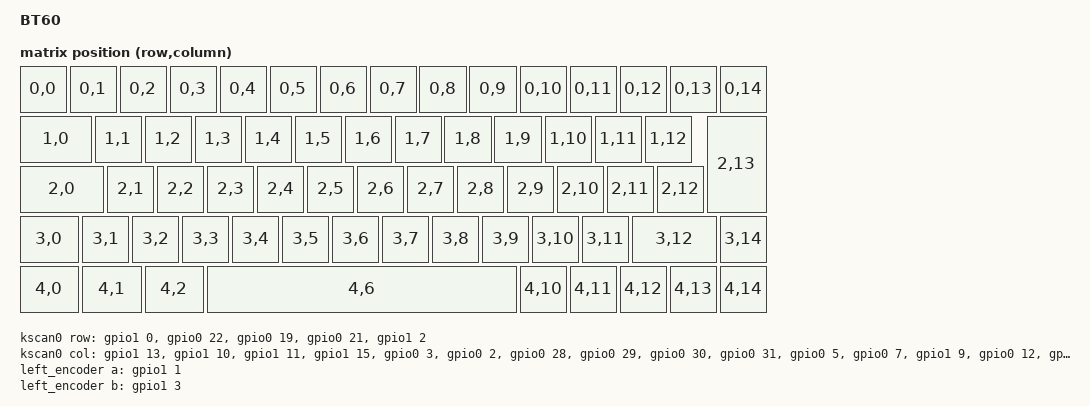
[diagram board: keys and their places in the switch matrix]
/*
 * Copyright (c) 2021 Polarity Works
 *
 * SPDX-License-Identifier: MIT
 */

/dts-v1/;
#include <nordic/nrf52840_qiaa.dtsi>
#include <zephyr/dt-bindings/regulator/nrf5x.h>
#include <dt-bindings/zmk/matrix_transform.h>
#include <physical_layouts.dtsi>

/ {
	model = "BT60";
	compatible = "polarityworks,bt60";

	chosen {
		zephyr,code-partition = &code_partition;
		zephyr,sram = &sram0;
		zephyr,flash = &flash0;
		zmk,battery = &vbatt;
		zmk,kscan = &kscan0;
		/* ZMK Studio: the matrix transform is referenced from the physical layout,
		 * so there must be no chosen zmk,matrix-transform. */
		zmk,physical-layout = &default_layout;

		/* Boot mode retention for the Adafruit nRF52 bootloader */
		zephyr,boot-mode = &boot_retention;
		zmk,magic-boot-mode = &adafruit_boot_retention;
	};

	/* Maps Zephyr boot modes to the magic values the bootloader expects */
	magic_mapper {
		compatible = "zmk,bootmode-to-magic-mapper";
		status = "okay";

		#address-cells = <1>;
		#size-cells = <1>;

		boot_retention: retention@0 {
			compatible = "zephyr,retention";
			status = "okay";
			reg = <0x0 0x1>;
		};
	};

	sensors: sensors {
		compatible = "zmk,keymap-sensors";
		sensors = <&left_encoder>;
		triggers-per-rotation = <20>;
	};

	default_transform: keymap_transform_0 {
		compatible = "zmk,matrix-transform";
		columns = <15>;
		rows = <5>;
		map = <
			RC(0,0) RC(0,1) RC(0,2) RC(0,3) RC(0,4) RC(0,5) RC(0,6) RC(0,7) RC(0,8) RC(0,9) RC(0,10) RC(0,11) RC(0,12) RC(0,13) RC(0,14)
			RC(1,0) RC(1,1) RC(1,2) RC(1,3) RC(1,4) RC(1,5) RC(1,6) RC(1,7) RC(1,8) RC(1,9) RC(1,10) RC(1,11) RC(1,12)
			RC(2,0) RC(2,1) RC(2,2) RC(2,3) RC(2,4) RC(2,5) RC(2,6) RC(2,7) RC(2,8) RC(2,9) RC(2,10) RC(2,11) RC(2,12) RC(2,13)
			RC(3,0) RC(3,1) RC(3,2) RC(3,3) RC(3,4) RC(3,5) RC(3,6) RC(3,7) RC(3,8) RC(3,9) RC(3,10) RC(3,11) RC(3,12) RC(3,14)
			RC(4,0) RC(4,1) RC(4,2)                         RC(4,6)                         RC(4,10) RC(4,11) RC(4,12) RC(4,13) RC(4,14)
		>;
	};

	/*
	 * Physical key positions for ZMK Studio, in the same order as the matrix
	 * transform / keymap bindings (65 keys). Units are 1/100 key unit.
	 * Adjust sizes and positions here if your keycaps differ.
	 */
	default_layout: default_layout {
		compatible = "zmk,physical-layout";
		display-name = "BT60 ISO";
		transform = <&default_transform>;

		keys  //                     w    h     x    y   rot  rx  ry
			/* Row 0: 15 x 1u (backspace is split in two) */
			= <&key_physical_attrs 100  100     0    0    0    0   0>
			, <&key_physical_attrs 100  100   100    0    0    0   0>
			, <&key_physical_attrs 100  100   200    0    0    0   0>
			, <&key_physical_attrs 100  100   300    0    0    0   0>
			, <&key_physical_attrs 100  100   400    0    0    0   0>
			, <&key_physical_attrs 100  100   500    0    0    0   0>
			, <&key_physical_attrs 100  100   600    0    0    0   0>
			, <&key_physical_attrs 100  100   700    0    0    0   0>
			, <&key_physical_attrs 100  100   800    0    0    0   0>
			, <&key_physical_attrs 100  100   900    0    0    0   0>
			, <&key_physical_attrs 100  100  1000    0    0    0   0>
			, <&key_physical_attrs 100  100  1100    0    0    0   0>
			, <&key_physical_attrs 100  100  1200    0    0    0   0>
			, <&key_physical_attrs 100  100  1300    0    0    0   0>
			, <&key_physical_attrs 100  100  1400    0    0    0   0>
			/* Row 1: Tab 1.5u + 12 x 1u */
			, <&key_physical_attrs 150  100     0  100    0    0   0>
			, <&key_physical_attrs 100  100   150  100    0    0   0>
			, <&key_physical_attrs 100  100   250  100    0    0   0>
			, <&key_physical_attrs 100  100   350  100    0    0   0>
			, <&key_physical_attrs 100  100   450  100    0    0   0>
			, <&key_physical_attrs 100  100   550  100    0    0   0>
			, <&key_physical_attrs 100  100   650  100    0    0   0>
			, <&key_physical_attrs 100  100   750  100    0    0   0>
			, <&key_physical_attrs 100  100   850  100    0    0   0>
			, <&key_physical_attrs 100  100   950  100    0    0   0>
			, <&key_physical_attrs 100  100  1050  100    0    0   0>
			, <&key_physical_attrs 100  100  1150  100    0    0   0>
			, <&key_physical_attrs 100  100  1250  100    0    0   0>
			/* Row 2: Caps 1.75u + 12 x 1u + ISO Enter (drawn as a tall key spanning rows 1-2) */
			, <&key_physical_attrs 175  100     0  200    0    0   0>
			, <&key_physical_attrs 100  100   175  200    0    0   0>
			, <&key_physical_attrs 100  100   275  200    0    0   0>
			, <&key_physical_attrs 100  100   375  200    0    0   0>
			, <&key_physical_attrs 100  100   475  200    0    0   0>
			, <&key_physical_attrs 100  100   575  200    0    0   0>
			, <&key_physical_attrs 100  100   675  200    0    0   0>
			, <&key_physical_attrs 100  100   775  200    0    0   0>
			, <&key_physical_attrs 100  100   875  200    0    0   0>
			, <&key_physical_attrs 100  100   975  200    0    0   0>
			, <&key_physical_attrs 100  100  1075  200    0    0   0>
			, <&key_physical_attrs 100  100  1175  200    0    0   0>
			, <&key_physical_attrs 100  100  1275  200    0    0   0>
			, <&key_physical_attrs 125  200  1375  100    0    0   0>
			/* Row 3: LShift 1.25u, NUBS 1u, 10 x 1u, RShift 1.75u, NUHS 1u */
			, <&key_physical_attrs 125  100     0  300    0    0   0>
			, <&key_physical_attrs 100  100   125  300    0    0   0>
			, <&key_physical_attrs 100  100   225  300    0    0   0>
			, <&key_physical_attrs 100  100   325  300    0    0   0>
			, <&key_physical_attrs 100  100   425  300    0    0   0>
			, <&key_physical_attrs 100  100   525  300    0    0   0>
			, <&key_physical_attrs 100  100   625  300    0    0   0>
			, <&key_physical_attrs 100  100   725  300    0    0   0>
			, <&key_physical_attrs 100  100   825  300    0    0   0>
			, <&key_physical_attrs 100  100   925  300    0    0   0>
			, <&key_physical_attrs 100  100  1025  300    0    0   0>
			, <&key_physical_attrs 100  100  1125  300    0    0   0>
			, <&key_physical_attrs 175  100  1225  300    0    0   0>
			, <&key_physical_attrs 100  100  1400  300    0    0   0>
			/* Row 4: 3 x 1.25u, 6.25u space, 5 x 1u */
			, <&key_physical_attrs 125  100     0  400    0    0   0>
			, <&key_physical_attrs 125  100   125  400    0    0   0>
			, <&key_physical_attrs 125  100   250  400    0    0   0>
			, <&key_physical_attrs 625  100   375  400    0    0   0>
			, <&key_physical_attrs 100  100  1000  400    0    0   0>
			, <&key_physical_attrs 100  100  1100  400    0    0   0>
			, <&key_physical_attrs 100  100  1200  400    0    0   0>
			, <&key_physical_attrs 100  100  1300  400    0    0   0>
			, <&key_physical_attrs 100  100  1400  400    0    0   0>
			;
	};

	kscan0: kscan_0 {
		compatible = "zmk,kscan-gpio-matrix";
		diode-direction = "col2row";

		col-gpios
			= <&gpio1 13 GPIO_ACTIVE_HIGH>
			, <&gpio1 10 GPIO_ACTIVE_HIGH>
			, <&gpio1 11 GPIO_ACTIVE_HIGH>
			, <&gpio1 15 GPIO_ACTIVE_HIGH>
			, <&gpio0 3 GPIO_ACTIVE_HIGH>
			, <&gpio0 2 GPIO_ACTIVE_HIGH>
			, <&gpio0 28 GPIO_ACTIVE_HIGH>
			, <&gpio0 29 GPIO_ACTIVE_HIGH>
			, <&gpio0 30 GPIO_ACTIVE_HIGH>
			, <&gpio0 31 GPIO_ACTIVE_HIGH>
			, <&gpio0 5 GPIO_ACTIVE_HIGH>
			, <&gpio0 7 GPIO_ACTIVE_HIGH>
			, <&gpio1 9 GPIO_ACTIVE_HIGH>
			, <&gpio0 12 GPIO_ACTIVE_HIGH>
			, <&gpio0 23 GPIO_ACTIVE_HIGH>
			;

		row-gpios
			= <&gpio1 0 (GPIO_ACTIVE_HIGH | GPIO_PULL_DOWN)>
			, <&gpio0 22 (GPIO_ACTIVE_HIGH | GPIO_PULL_DOWN)>
			, <&gpio0 19 (GPIO_ACTIVE_HIGH | GPIO_PULL_DOWN)>
			, <&gpio0 21 (GPIO_ACTIVE_HIGH | GPIO_PULL_DOWN)>
			, <&gpio1 2 (GPIO_ACTIVE_HIGH | GPIO_PULL_DOWN)>
			;
	};

	left_encoder: encoder_left {
		compatible = "alps,ec11";
		a-gpios = <&gpio1 1 (GPIO_ACTIVE_HIGH | GPIO_PULL_UP)>;
		b-gpios = <&gpio1 3 (GPIO_ACTIVE_HIGH | GPIO_PULL_UP)>;
		/* 20 detents x 4 pulses per detent (was resolution = <4>) */
		steps = <80>;
		status = "okay";
	};

	leds {
		compatible = "gpio-leds";
		blue_led: led_0 {
			gpios = <&gpio0 15 GPIO_ACTIVE_HIGH>;
		};
	};

	vbatt: vbatt {
		compatible = "zmk,battery-voltage-divider";
		io-channels = <&adc 2>;
		output-ohms = <2000000>;
		full-ohms = <(2000000 + 806000)>;
	};
};

&adc {
	status = "okay";
};

/* DC/DC converter on the DCC pin (replaces CONFIG_BOARD_ENABLE_DCDC) */
&reg1 {
	regulator-initial-mode = <NRF5X_REG_MODE_DCDC>;
};

/* GPREGRET holds the boot mode value for the Adafruit bootloader */
&gpregret1 {
	adafruit_boot_retention: retention@0 {
		compatible = "zephyr,retention";
		status = "okay";
		reg = <0x0 0x1>;
	};
};

&gpiote {
	status = "okay";
};

&gpio0 {
	status = "okay";
};

&gpio1 {
	status = "okay";
};

&i2c0 {
	status = "disabled";
};

&uart0 {
	status = "disabled";
};

&usbd {
	status = "okay";
};

&flash0 {
	/*
	 * For more information, see:
	 * http://docs.zephyrproject.org/latest/devices/dts/flash_partitions.html
	 */
	partitions {
		compatible = "fixed-partitions";
		#address-cells = <1>;
		#size-cells = <1>;

		sd_partition: partition@0 {
			label = "softdevice";
			reg = <0x00000000 0x00026000>;
		};
		code_partition: partition@26000 {
			label = "code_partition";
			reg = <0x00026000 0x000c6000>;
		};

		/*
		 * The flash starting at 0x000ec000 and ending at
		 * 0x000f3fff is reserved for use by the application.
		 */

		/*
		 * Storage partition will be used by FCB/LittleFS/NVS
		 * if enabled.
		 */
		storage_partition: partition@ec000 {
			label = "storage";
			reg = <0x000ec000 0x00008000>;
		};

		boot_partition: partition@f4000 {
			label = "adafruit_boot";
			reg = <0x000f4000 0x0000c000>;
		};
	};
};
